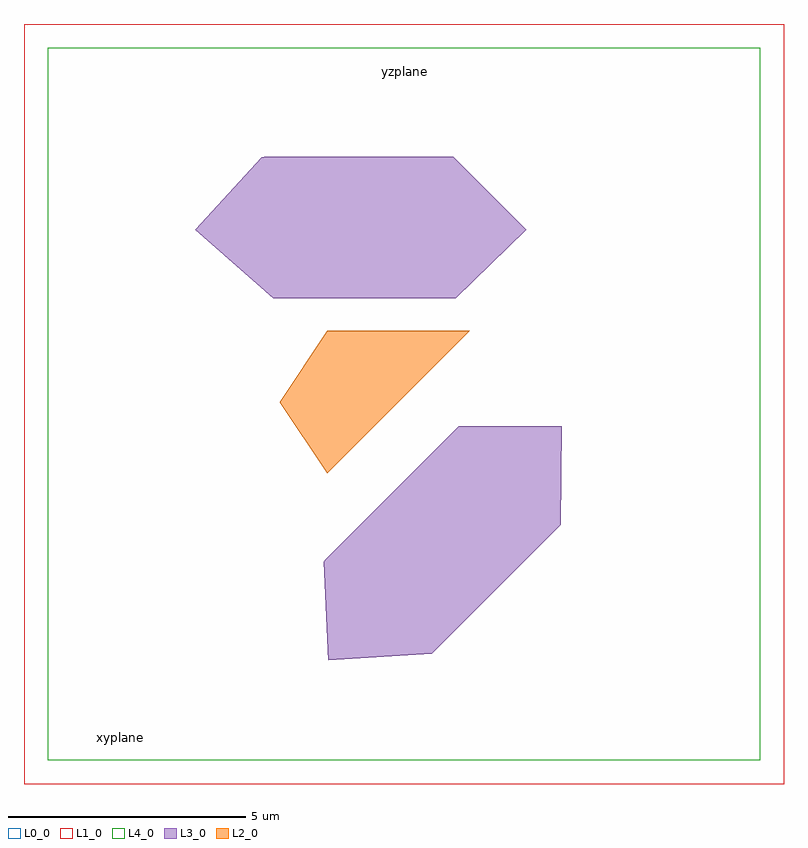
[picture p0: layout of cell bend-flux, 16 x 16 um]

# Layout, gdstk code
import gdstk
lib = gdstk.Library(unit=1e-6, precision=1e-09)
def R(c, l, rs):  # rectangles x0, y0, x1, y1
    for r in rs: c.add(gdstk.rectangle(r[:2], r[2:], *l))
def P(c, l, *ps):  # polygons
    for p in ps: c.add(gdstk.Polygon(p, *l))
L0_0 = (0, 0)
L1_0 = (1, 0)
L2_0 = (2, 0)
L3_0 = (3, 0)
L4_0 = (4, 0)

bend_flux = lib.new_cell('bend-flux')
R(bend_flux, L0_0, [(-8,-8,8,8)])
R(bend_flux, L1_0, [(-8,-8,8,8)])
P(bend_flux, L2_0, [(-1.612,-1.46),(-2.612,0.04),(-1.612,1.54),(1.388,1.54)])
P(bend_flux, L3_0, [(-1.591,-5.399),(-1.69,-3.326),(-1.656,-3.283),(1.155,-0.472),(3.324,-0.472),(3.296,-2.542),(0.581,-5.257)],
  [(-2.754,2.229),(-4.39,3.664),(-2.995,5.2),(-2.941,5.206),(1.035,5.206),(2.569,3.672),(1.085,2.229)])
R(bend_flux, L4_0, [(-7.5,-7.5,7.5,7.5)])
bend_flux.add(gdstk.FlexPath([(0,8),(0,-8)], 0, ends="flush", simple_path=True, layer=4, datatype=0))  # L4_0
bend_flux.add(gdstk.Label('yzplane', (0,7), layer=4, texttype=0))
bend_flux.add(gdstk.Label('yzplane', (0,7), layer=4, texttype=0))
bend_flux.add(gdstk.Label('xyplane', (-5.967,-7.017), layer=4, texttype=0))

lib.write_gds('bend-flux.gds')
